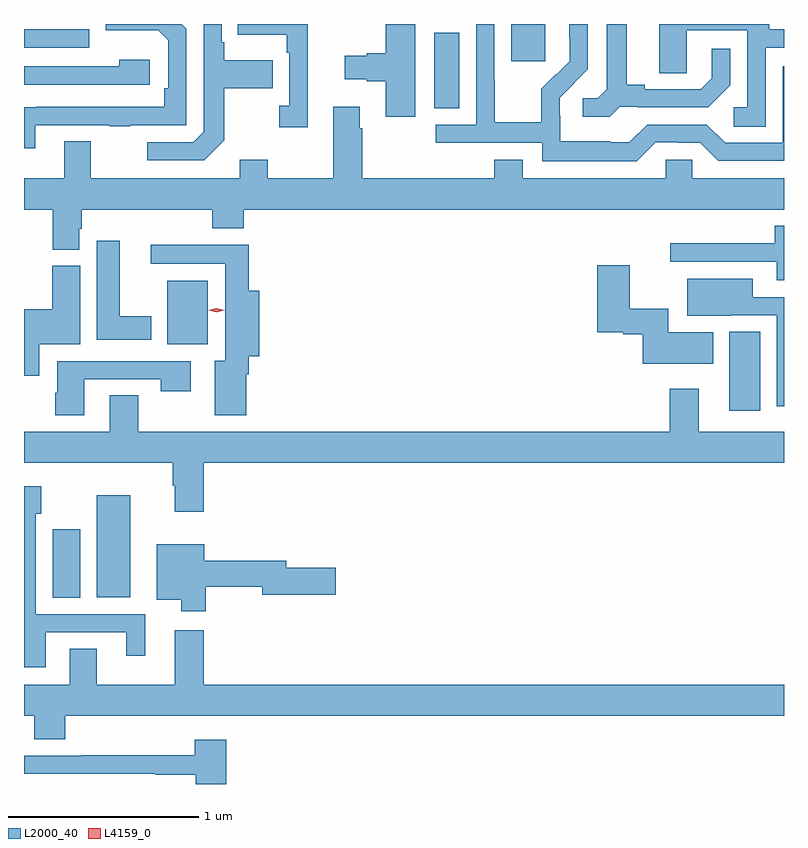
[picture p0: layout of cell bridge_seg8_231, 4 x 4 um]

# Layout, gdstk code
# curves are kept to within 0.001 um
import gdstk
lib = gdstk.Library(unit=1e-6, precision=1e-09)
def R(c, l, rs):  # rectangles x0, y0, x1, y1
    for r in rs: c.add(gdstk.rectangle(r[:2], r[2:], *l))
def P(c, l, *ps):  # polygons
    for p in ps: c.add(gdstk.Polygon(p, *l))
L2000_40 = (2000, 40)
L4159_0 = (4159, 0)

bridge_seg8_231 = lib.new_cell('bridge_seg8_231')
R(bridge_seg8_231, L2000_40, [(243.941,1141.096,244.084,1141.459), (244.172,1141.1,244.348,1141.636), (247.502,1142.082,247.663,1142.497), (244.544,1142.432,244.756,1142.767), (245.948,1143.673,246.079,1144.07), (246.353,1143.921,246.532,1144.117), (243.789,1143.993,244.133,1144.089)])
P(bridge_seg8_231, L2000_40, [(244.843,1143.505),(244.843,1143.778),(245.099,1143.778),(245.099,1143.925),(244.843,1143.925),(244.843,1144.021),(244.83,1144.021),(244.83,1144.117),(244.734,1144.117),(244.734,1143.549),(244.68,1143.495),(244.437,1143.495),(244.437,1143.399),(244.737,1143.399)],
  [(247.113,1143.495),(247.229,1143.495),(247.229,1143.492),(247.347,1143.492),(247.443,1143.396),(247.789,1143.396),(247.789,1143.894),(247.782,1143.894),(247.782,1143.492),(247.479,1143.492),(247.383,1143.588),(247.068,1143.588),(246.975,1143.495),(246.875,1143.495),(246.875,1143.499),(246.612,1143.499),(246.612,1143.633),(246.61,1143.633),(246.61,1143.73),(246.756,1143.878),(246.756,1144.117),(246.66,1144.117),(246.66,1144.042),(246.662,1144.042),(246.662,1143.92),(246.591,1143.849),(246.588,1143.852),(246.511,1143.775),(246.511,1143.601),(246.267,1143.601),(246.267,1143.824),(246.264,1143.824),(246.264,1144.117),(246.168,1144.117),(246.168,1143.588),(245.955,1143.588),(245.955,1143.492),(246.516,1143.492),(246.516,1143.395),(247.013,1143.395)],
  [(243.847,1143.585),(244.237,1143.585),(244.237,1143.58),(244.349,1143.58),(244.349,1143.585),(244.644,1143.585),(244.644,1144.092),(244.619,1144.117),(244.218,1144.117),(244.218,1144.085),(244.495,1144.085),(244.548,1144.032),(244.548,1143.778),(244.528,1143.778),(244.528,1143.681),(243.789,1143.68),(243.789,1143.462),(243.847,1143.462)],
  [(247.692,1143.993),(247.789,1143.993),(247.789,1144.089),(247.711,1144.089),(247.711,1144.117),(247.133,1144.117),(247.133,1143.859),(247.278,1143.859),(247.278,1144.083),(247.596,1144.083),(247.596,1143.678),(247.524,1143.678),(247.524,1143.577),(247.692,1143.577)],
  [(246.924,1143.681),(247.018,1143.681),(247.018,1143.678),(247.39,1143.678),(247.506,1143.794),(247.506,1143.988),(247.409,1143.988),(247.409,1143.831),(247.352,1143.774),(247.057,1143.774),(247.057,1143.797),(246.961,1143.797),(246.961,1144.117),(246.857,1144.117),(246.857,1143.773),(246.81,1143.726),(246.729,1143.726),(246.729,1143.629),(246.872,1143.629)],
  [(245.282,1144.117),(244.915,1144.117),(244.915,1144.061),(245.172,1144.061),(245.172,1143.965),(245.184,1143.965),(245.184,1143.686),(245.133,1143.686),(245.133,1143.573),(245.282,1143.573)],
  [(245.848,1144.117),(245.693,1144.117),(245.693,1143.962),(245.594,1143.962),(245.594,1143.949),(245.478,1143.949),(245.478,1143.827),(245.594,1143.827),(245.594,1143.815),(245.693,1143.815),(245.693,1143.63),(245.848,1143.63)],
  [(244.45,1143.928),(244.289,1143.928),(244.289,1143.894),(243.789,1143.894),(243.789,1143.798),(244.45,1143.798)],
  [(244.081,1143.039),(244.094,1143.039),(244.094,1143.14),(244.781,1143.14),(244.781,1143.041),(244.946,1143.041),(244.946,1143.14),(247.789,1143.14),(247.789,1143.304),(247.305,1143.304),(247.305,1143.402),(247.167,1143.402),(247.167,1143.304),(246.415,1143.304),(246.415,1143.403),(246.263,1143.403),(246.263,1143.304),(245.57,1143.304),(245.57,1143.569),(245.557,1143.569),(245.557,1143.682),(245.417,1143.682),(245.417,1143.304),(245.073,1143.304),(245.073,1143.403),(244.925,1143.403),(244.925,1143.304),(244.141,1143.304),(244.141,1143.499),(244.001,1143.499),(244.001,1143.304),(243.789,1143.304),(243.789,1143.14),(243.941,1143.14),(243.941,1142.929),(244.081,1142.929)],
  [(247.789,1143.055),(247.739,1143.055),(247.739,1142.962),(247.191,1142.962),(247.191,1142.865),(247.751,1142.865),(247.751,1142.769),(247.789,1142.769)],
  [(244.459,1142.578),(244.294,1142.578),(244.294,1142.977),(244.172,1142.977),(244.172,1142.456),(244.459,1142.456)],
  [(244.96,1142.273),(244.973,1142.273),(244.973,1142.369),(245.026,1142.369),(245.026,1142.713),(244.973,1142.713),(244.973,1142.954),(244.455,1142.954),(244.455,1142.856),(244.847,1142.856),(244.847,1142.344),(244.793,1142.344),(244.793,1142.058),(244.96,1142.058)],
  [(247.417,1142.494),(247.18,1142.494),(247.18,1142.618),(246.976,1142.618),(246.976,1142.848),(246.806,1142.848),(246.806,1142.495),(246.942,1142.495),(246.942,1142.483),(247.046,1142.483),(247.046,1142.33),(247.417,1142.33)],
  [(243.868,1142.432),(244.084,1142.432),(244.084,1142.844),(243.938,1142.844),(243.938,1142.617),(243.789,1142.617),(243.789,1142.265),(243.868,1142.265)],
  [(247.789,1142.679),(247.624,1142.679),(247.624,1142.776),(247.28,1142.776),(247.28,1142.582),(247.506,1142.582),(247.506,1142.583),(247.752,1142.583),(247.752,1142.105),(247.789,1142.105)],
  [(244.105,1142.247),(244.51,1142.247),(244.51,1142.184),(244.666,1142.184),(244.666,1142.343),(243.965,1142.343),(243.965,1142.177),(243.953,1142.177),(243.953,1142.058),(244.105,1142.058)],
  [(244.736,1141.808),(247.789,1141.808),(247.789,1141.972),(247.339,1141.972),(247.339,1142.197),(247.187,1142.197),(247.187,1141.972),(244.389,1141.972),(244.389,1142.162),(244.241,1142.162),(244.241,1141.972),(243.789,1141.972),(243.789,1141.808),(244.571,1141.808),(244.571,1141.688),(244.583,1141.688),(244.583,1141.551),(244.736,1141.551)],
  [(243.904,1140.915),(244.328,1140.915),(244.328,1140.792),(244.426,1140.792),(244.426,1141.011),(243.852,1141.011),(243.852,1141.539),(243.879,1141.539),(243.879,1141.684),(243.789,1141.684),(243.789,1140.731),(243.904,1140.731)],
  [(244.746,1141.156),(245.042,1141.156),(245.042,1141.114),(245.431,1141.114),(245.431,1141.256),(245.17,1141.256),(245.17,1141.292),(244.738,1141.292),(244.738,1141.378),(244.487,1141.378),(244.487,1141.088),(244.616,1141.088),(244.616,1141.026),(244.746,1141.026)],
  [(244.007,1140.476),(247.789,1140.476),(247.789,1140.64),(244.736,1140.64),(244.736,1140.925),(244.583,1140.925),(244.583,1140.64),(244.171,1140.64),(244.171,1140.83),(244.031,1140.83),(244.031,1140.64),(243.789,1140.64),(243.789,1140.476),(243.842,1140.476),(243.842,1140.352),(244.007,1140.352)],
  [(244.853,1140.349),(244.688,1140.349),(244.688,1140.269),(244.09,1140.269),(244.09,1140.267),(243.789,1140.267),(243.789,1140.171),(244.48,1140.171),(244.48,1140.166),(244.693,1140.166),(244.693,1140.117),(244.853,1140.117)])
P(bridge_seg8_231, L4159_0, [(244.801,1142.6),(244.761,1142.61),(244.761,1142.61),(244.761,1142.61),(244.801,1142.62),(244.842,1142.61),(244.842,1142.61),(244.842,1142.61)])

lib.write_gds('bridge_seg8_231.gds')
